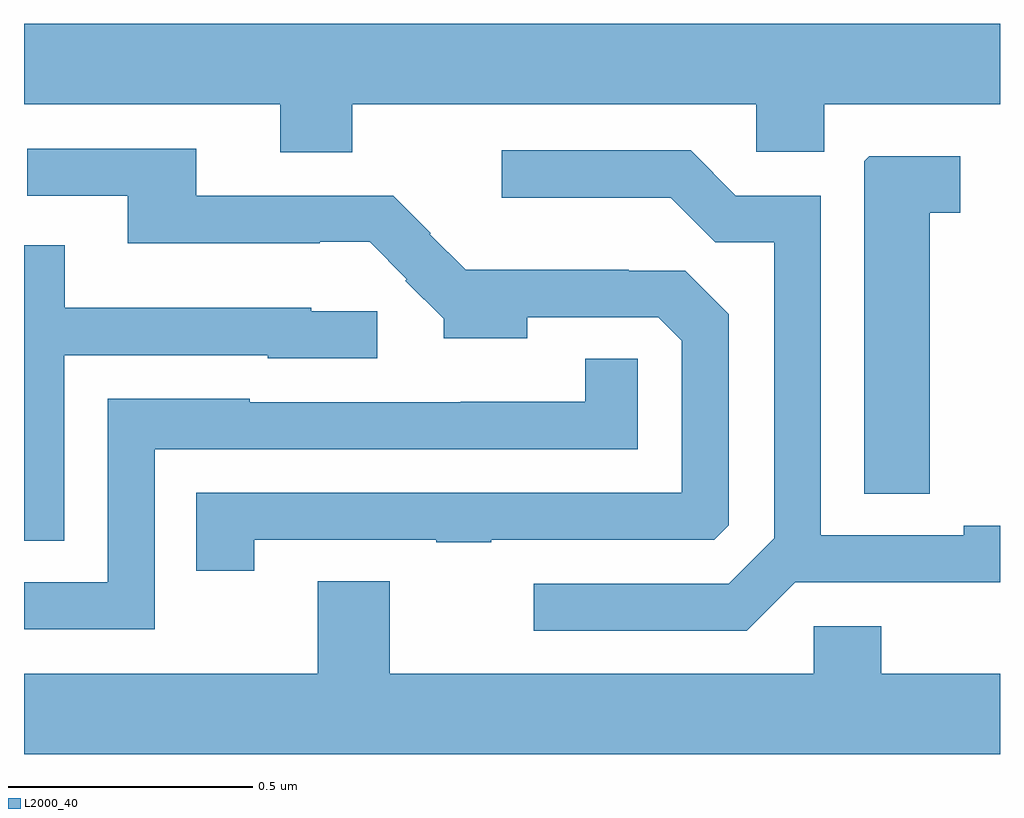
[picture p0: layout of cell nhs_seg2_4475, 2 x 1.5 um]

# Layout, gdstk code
import gdstk
lib = gdstk.Library(unit=1e-6, precision=1e-09)
def P(c, l, *ps):  # polygons
    for p in ps: c.add(gdstk.Polygon(p, *l))
L2000_40 = (2000, 40)

nhs_seg2_4475 = lib.new_cell('nhs_seg2_4475')
P(nhs_seg2_4475, L2000_40, [(167.673,598.352),(168.501,598.352),(168.501,598.254),(168.64,598.254),(168.64,598.352),(169,598.352),(169,598.516),(167,598.516),(167,598.352),(167.525,598.352),(167.525,598.253),(167.673,598.253)],
  [(167.472,597.459),(167.845,597.459),(167.845,597.454),(167.957,597.454),(167.957,597.459),(168.414,597.459),(168.444,597.489),(168.444,597.921),(168.355,598.01),(168.239,598.01),(168.239,598.012),(167.905,598.012),(167.831,598.085),(167.833,598.087),(167.757,598.164),(167.353,598.164),(167.353,598.26),(167.007,598.26),(167.007,598.164),(167.213,598.164),(167.213,598.067),(167.606,598.067),(167.606,598.07),(167.708,598.07),(167.784,597.993),(167.781,597.99),(167.86,597.912),(167.86,597.872),(168.031,597.872),(168.031,597.915),(168.3,597.915),(168.348,597.867),(168.348,597.555),(167.353,597.555),(167.353,597.396),(167.472,597.396)],
  [(168.58,597.372),(169,597.372),(169,597.488),(168.926,597.488),(168.926,597.468),(168.633,597.468),(168.633,598.164),(168.459,598.164),(168.366,598.257),(167.979,598.257),(167.979,598.16),(168.325,598.16),(168.416,598.069),(168.537,598.069),(168.537,597.462),(168.444,597.369),(168.045,597.369),(168.045,597.273),(168.481,597.273)],
  [(168.856,598.129),(168.919,598.129),(168.919,598.245),(168.732,598.245),(168.722,598.235),(168.722,597.553),(168.856,597.553)],
  [(167.082,597.837),(167.499,597.837),(167.499,597.831),(167.724,597.831),(167.724,597.927),(167.589,597.927),(167.589,597.934),(167.083,597.934),(167.083,598.063),(167,598.063),(167,597.457),(167.082,597.457)],
  [(167.268,597.645),(168.258,597.645),(168.258,597.83),(168.15,597.83),(168.15,597.742),(167.895,597.742),(167.895,597.741),(167.463,597.741),(167.463,597.748),(167.172,597.748),(167.172,597.372),(167,597.372),(167,597.276),(167.268,597.276)],
  [(169,597.184),(168.757,597.184),(168.757,597.282),(168.618,597.282),(168.618,597.184),(167.749,597.184),(167.749,597.374),(167.602,597.374),(167.602,597.184),(167,597.184),(167,597.02),(169,597.02)])

lib.write_gds('nhs_seg2_4475.gds')
